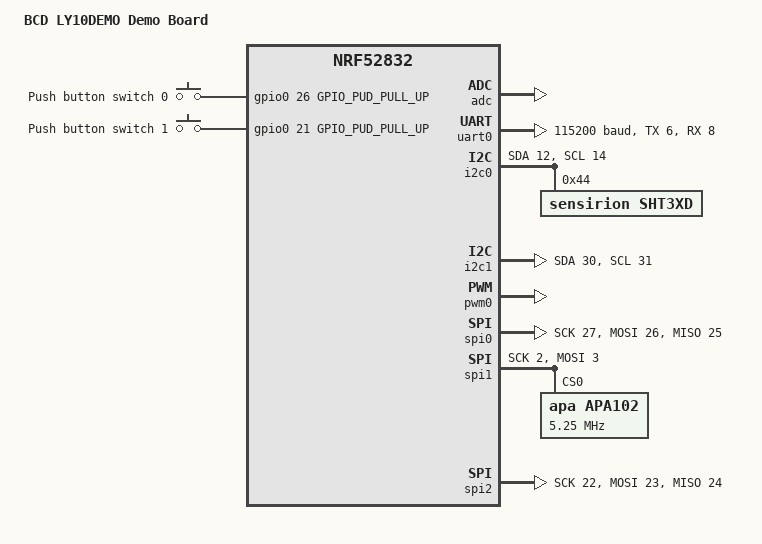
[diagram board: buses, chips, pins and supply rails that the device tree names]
/*
 * Copyright (c) 2017 Shawn Nock <shawn@monadnock.ca>
 * Copyright (c) 2017 Linaro Limited
 *
 * SPDX-License-Identifier: Apache-2.0
 */

/dts-v1/;
#include <nordic/nrf52832_qfaa.dtsi>

/ {
	model = "BCD LY10DEMO Demo Board";
	compatible = "nordic,pca10040-dk", "nordic,nrf52832-qfaa",
		     "nordic,nrf52832";

	chosen {
		zephyr,console = &uart0;
		zephyr,shell-uart = &uart0;
		zephyr,uart-mcumgr = &uart0;
		zephyr,bt-mon-uart = &uart0;
		zephyr,sram = &sram0;
		zephyr,flash = &flash0;
		zephyr,code-partition = &slot0_partition;
	};

	buttons {
		compatible = "gpio-keys";
		button0: button_0 {
			gpios = <&gpio0 26 GPIO_PUD_PULL_UP>;
			label = "Push button switch 0";
		};
		button1: button_1 {
			gpios = <&gpio0 21 GPIO_PUD_PULL_UP>;
			label = "Push button switch 1";
		};
	};

	/* These aliases are provided for compatibility with samples */
	aliases {
		sw0 = &button0;
		sw1 = &button1;
	};
};

&adc {
	status ="ok";
};

&gpiote {
	status ="ok";
};

&gpio0 {
	status ="ok";
};

arduino_serial: &uart0 {
	status = "ok";
	compatible = "nordic,nrf-uart";
	current-speed = <115200>;
	tx-pin = <6>;
	rx-pin = <8>;
	rts-pin = <5>;
	cts-pin = <7>;
};

&i2c0 {
	status = "ok";
	sda-pin = <12>;
	scl-pin = <14>;

        sht3xd@44 {
                compatible = "sensirion,sht3xd";
                reg = <0x44>;
                label = "SHT3XD";
        };
};

&i2c1 {
	/* Cannot be used together with spi1. */
	/* status = "ok"; */
	sda-pin = <30>;
	scl-pin = <31>;
};

&pwm0 {
	/* buzzer */
	status = "ok";
	ch0-pin = <22>;
	ch0-inverted;
};

&spi0 {
	/* status = "ok"; */
	sck-pin = <27>;
	mosi-pin = <26>;
	miso-pin = <25>;
};

&spi1 {
	status = "ok";
	sck-pin = <2>;
	mosi-pin = <3>;

        apa102@0 {
                compatible = "apa,apa102";
                reg = <0>;
                spi-max-frequency = <5250000>;
                label = "APA102";
        };
};

&spi2 {
	/* status = "ok"; */
	sck-pin = <22>;
	mosi-pin = <23>;
	miso-pin = <24>;
};

&flash0 {
	/*
	 * For more information, see:
	 * http://docs.zephyrproject.org/latest/guides/dts/index.html#flash-partitions
	 */
	partitions {
		compatible = "fixed-partitions";
		#address-cells = <1>;
		#size-cells = <1>;

		boot_partition: partition@0 {
			label = "mcuboot";
			reg = <0x00000000 0xc000>;
		};
		slot0_partition: partition@c000 {
			label = "image-0";
			reg = <0x0000C000 0x32000>;
		};
		slot1_partition: partition@3e000 {
			label = "image-1";
			reg = <0x0003E000 0x32000>;
		};
		scratch_partition: partition@70000 {
			label = "image-scratch";
			reg = <0x00070000 0xa000>;
		};
		storage_partition: partition@7a000 {
			label = "storage";
			reg = <0x0007a000 0x00006000>;
		};
	};
};
